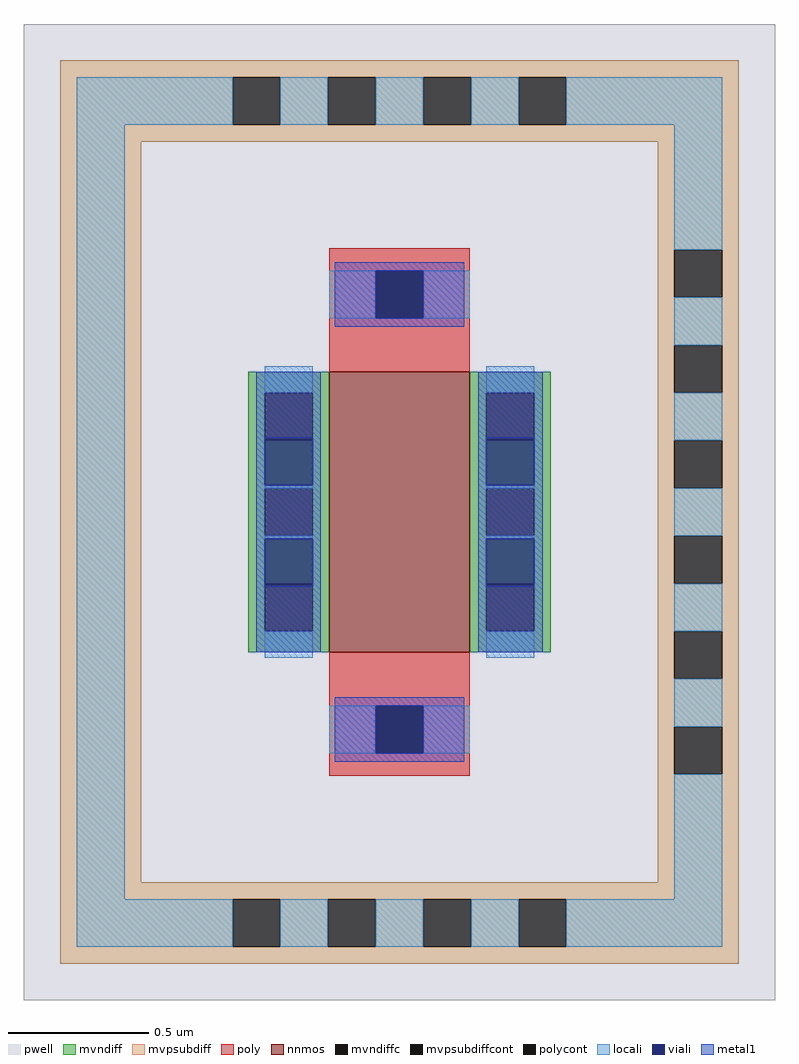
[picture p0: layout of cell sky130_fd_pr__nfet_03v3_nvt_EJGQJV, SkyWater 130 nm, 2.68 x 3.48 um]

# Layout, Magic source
magic
tech sky130A
magscale 1 2
<< pwell >>
rect -268 -348 268 348
<< nnmos >>
rect -50 -100 50 100
<< mvndiff >>
rect -108 85 -50 100
rect -108 51 -96 85
rect -62 51 -50 85
rect -108 17 -50 51
rect -108 -17 -96 17
rect -62 -17 -50 17
rect -108 -51 -50 -17
rect -108 -85 -96 -51
rect -62 -85 -50 -51
rect -108 -100 -50 -85
rect 50 85 108 100
rect 50 51 62 85
rect 96 51 108 85
rect 50 17 108 51
rect 50 -17 62 17
rect 96 -17 108 17
rect 50 -51 108 -17
rect 50 -85 62 -51
rect 96 -85 108 -51
rect 50 -100 108 -85
<< mvndiffc >>
rect -96 51 -62 85
rect -96 -17 -62 17
rect -96 -85 -62 -51
rect 62 51 96 85
rect 62 -17 96 17
rect 62 -85 96 -51
<< mvpsubdiff >>
rect -242 310 242 322
rect -242 276 -119 310
rect -85 276 -51 310
rect -17 276 17 310
rect 51 276 85 310
rect 119 276 242 310
rect -242 264 242 276
rect -242 -264 -184 264
rect 184 187 242 264
rect 184 153 196 187
rect 230 153 242 187
rect 184 119 242 153
rect 184 85 196 119
rect 230 85 242 119
rect 184 51 242 85
rect 184 17 196 51
rect 230 17 242 51
rect 184 -17 242 17
rect 184 -51 196 -17
rect 230 -51 242 -17
rect 184 -85 242 -51
rect 184 -119 196 -85
rect 230 -119 242 -85
rect 184 -153 242 -119
rect 184 -187 196 -153
rect 230 -187 242 -153
rect 184 -264 242 -187
rect -242 -276 242 -264
rect -242 -310 -119 -276
rect -85 -310 -51 -276
rect -17 -310 17 -276
rect 51 -310 85 -276
rect 119 -310 242 -276
rect -242 -322 242 -310
<< mvpsubdiffcont >>
rect -119 276 -85 310
rect -51 276 -17 310
rect 17 276 51 310
rect 85 276 119 310
rect 196 153 230 187
rect 196 85 230 119
rect 196 17 230 51
rect 196 -51 230 -17
rect 196 -119 230 -85
rect 196 -187 230 -153
rect -119 -310 -85 -276
rect -51 -310 -17 -276
rect 17 -310 51 -276
rect 85 -310 119 -276
<< poly >>
rect -50 172 50 188
rect -50 138 -17 172
rect 17 138 50 172
rect -50 100 50 138
rect -50 -138 50 -100
rect -50 -172 -17 -138
rect 17 -172 50 -138
rect -50 -188 50 -172
<< polycont >>
rect -17 138 17 172
rect -17 -172 17 -138
<< locali >>
rect -230 276 -119 310
rect -85 276 -51 310
rect -17 276 17 310
rect 51 276 85 310
rect 119 276 230 310
rect -230 -276 -196 276
rect 196 187 230 276
rect -50 138 -17 172
rect 17 138 50 172
rect 196 119 230 153
rect -96 85 -62 104
rect -96 17 -62 19
rect -96 -19 -62 -17
rect -96 -104 -62 -85
rect 62 85 96 104
rect 62 17 96 19
rect 62 -19 96 -17
rect 62 -104 96 -85
rect 196 51 230 85
rect 196 -17 230 17
rect 196 -85 230 -51
rect -50 -172 -17 -138
rect 17 -172 50 -138
rect 196 -153 230 -119
rect 196 -276 230 -187
rect -230 -310 -119 -276
rect -85 -310 -51 -276
rect -17 -310 17 -276
rect 51 -310 85 -276
rect 119 -310 230 -276
<< viali >>
rect -17 138 17 172
rect -96 51 -62 53
rect -96 19 -62 51
rect -96 -51 -62 -19
rect -96 -53 -62 -51
rect 62 51 96 53
rect 62 19 96 51
rect 62 -51 96 -19
rect 62 -53 96 -51
rect -17 -172 17 -138
<< metal1 >>
rect -46 172 46 178
rect -46 138 -17 172
rect 17 138 46 172
rect -46 132 46 138
rect -102 53 -56 100
rect -102 19 -96 53
rect -62 19 -56 53
rect -102 -19 -56 19
rect -102 -53 -96 -19
rect -62 -53 -56 -19
rect -102 -100 -56 -53
rect 56 53 102 100
rect 56 19 62 53
rect 96 19 102 53
rect 56 -19 102 19
rect 56 -53 62 -19
rect 96 -53 102 -19
rect 56 -100 102 -53
rect -46 -138 46 -132
rect -46 -172 -17 -138
rect 17 -172 46 -138
rect -46 -178 46 -172
<< properties >>
string FIXED_BBOX -212 -292 212 292
<< end >>
